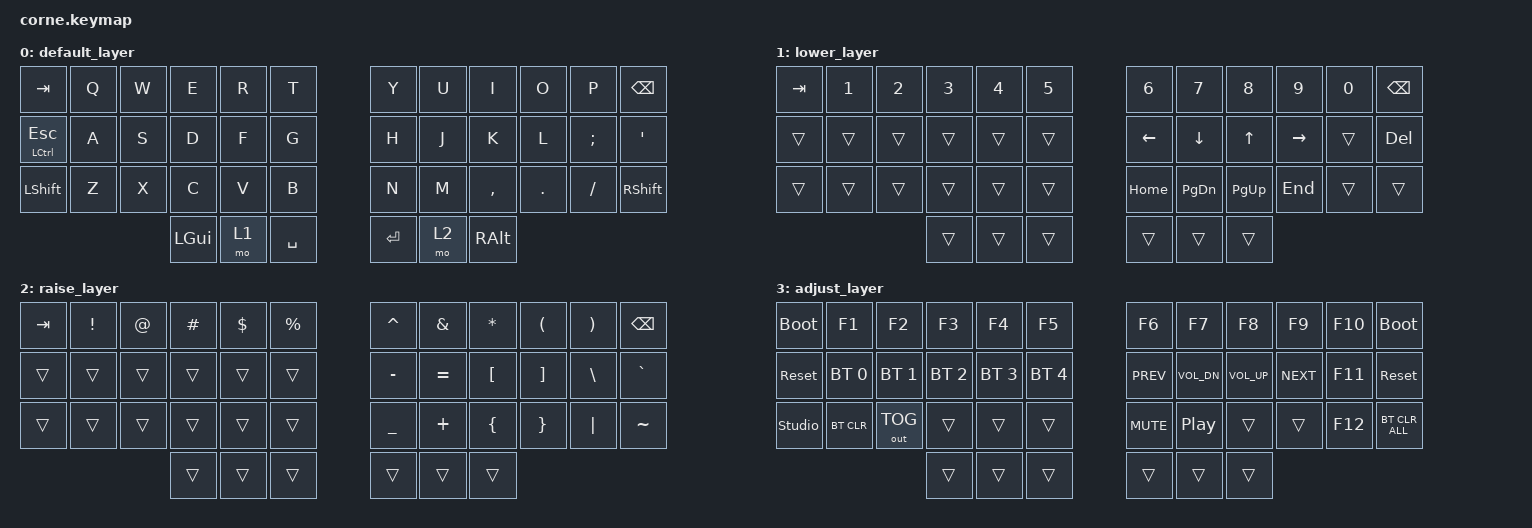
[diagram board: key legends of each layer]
/*
 * Copyright (c) 2020 The ZMK Contributors
 *
 * SPDX-License-Identifier: MIT
 */

#include <behaviors.dtsi>
#include <dt-bindings/zmk/keys.h>
#include <dt-bindings/zmk/bt.h>
#include <dt-bindings/zmk/outputs.h>

// Key positions, for the combo below:
//   0  1  2  3  4  5      6  7  8  9 10 11
//  12 13 14 15 16 17     18 19 20 21 22 23
//  24 25 26 27 28 29     30 31 32 33 34 35
//           36 37 38     39 40 41

/ {
        combos {
                compatible = "zmk,combos";

                // Both Shifts together: Caps Word (capitals until a space or punctuation)
                caps_word_combo {
                        timeout-ms = <50>;
                        key-positions = <24 35>;
                        bindings = <&caps_word>;
                };
        };

        conditional_layers {
                compatible = "zmk,conditional-layers";

                // Lower and Raise held together: Adjust
                adjust {
                        if-layers = <1 2>;
                        then-layer = <3>;
                };
        };

        keymap {
                compatible = "zmk,keymap";

                default_layer {
// -----------------------------------------------------------------------------------------
// |  TAB    |  Q  |  W  |  E  |  R  |  T  |   |  Y  |  U   |  I  |  O  |  P  | BSPC |
// | CTL/ESC |  A  |  S  |  D  |  F  |  G  |   |  H  |  J   |  K  |  L  |  ;  |  '   |
// |  SHFT   |  Z  |  X  |  C  |  V  |  B  |   |  N  |  M   |  ,  |  .  |  /  | SHFT |
//                       | GUI | LWR | SPC |   | ENT | RSE  | ALT |
// The key left of A is Ctrl when held and Esc when tapped.
                        bindings = <
   &kp TAB       &kp Q &kp W &kp E &kp R &kp T   &kp Y &kp U  &kp I     &kp O   &kp P    &kp BSPC
   &mt LCTRL ESC &kp A &kp S &kp D &kp F &kp G   &kp H &kp J  &kp K     &kp L   &kp SEMI &kp SQT
   &kp LSHFT     &kp Z &kp X &kp C &kp V &kp B   &kp N &kp M  &kp COMMA &kp DOT &kp FSLH &kp RSHFT
                      &kp LGUI &mo 1 &kp SPACE   &kp RET &mo 2 &kp RALT
                        >;
                };

                lower_layer {
// -----------------------------------------------------------------------------------------
// |  TAB |  1  |  2  |  3  |  4  |  5  |   |  6   |  7   |  8   |  9   |  0  | BSPC |
// |      |     |     |     |     |     |   | LFT  | DWN  |  UP  | RGT  |     | DEL  |
// |      |     |     |     |     |     |   | HOME | PGDN | PGUP | END  |     |      |
//                    |     |     |     |   |      |      |      |
                        bindings = <
   &kp TAB &kp N1 &kp N2 &kp N3 &kp N4 &kp N5   &kp N6   &kp N7    &kp N8    &kp N9    &kp N0 &kp BSPC
   &trans  &trans &trans &trans &trans &trans   &kp LEFT &kp DOWN  &kp UP    &kp RIGHT &trans &kp DEL
   &trans  &trans &trans &trans &trans &trans   &kp HOME &kp PG_DN &kp PG_UP &kp END   &trans &trans
                         &trans &trans &trans   &trans   &trans    &trans
                        >;
                };

                raise_layer {
// -----------------------------------------------------------------------------------------
// |  TAB |  !  |  @  |  #  |  $  |  %  |   |  ^  |  &  |  *  |  (  |  )  | BSPC |
// |      |     |     |     |     |     |   |  -  |  =  |  [  |  ]  |  \  |  `   |
// |      |     |     |     |     |     |   |  _  |  +  |  {  |  }  | "|" |  ~   |
//                    |     |     |     |   |     |     |     |
                        bindings = <
   &kp TAB &kp EXCL &kp AT &kp HASH &kp DLLR &kp PRCNT   &kp CARET &kp AMPS  &kp ASTRK &kp LPAR &kp RPAR &kp BSPC
   &trans  &trans   &trans &trans   &trans   &trans      &kp MINUS &kp EQUAL &kp LBKT  &kp RBKT &kp BSLH &kp GRAVE
   &trans  &trans   &trans &trans   &trans   &trans      &kp UNDER &kp PLUS  &kp LBRC  &kp RBRC &kp PIPE &kp TILDE
                           &trans   &trans   &trans      &trans    &trans    &trans
                        >;
                };

                adjust_layer {
// Lower and Raise together. The bootloader and reset keys act on the half they are on.
// -----------------------------------------------------------------------------------------
// | BOOT  | F1  | F2  | F3  | F4  | F5  |   | F6   | F7   | F8   | F9   | F10 | BOOT  |
// | RESET | BT1 | BT2 | BT3 | BT4 | BT5 |   | PREV | VOL- | VOL+ | NEXT | F11 | RESET |
// | STUDIO| BTCLR| USB/BT|    |     |     |   | MUTE | PLAY |      |      | F12 | BTCLR ALL |
//                     |     |     |     |   |      |      |      |
                        bindings = <
   &bootloader    &kp F1       &kp F2       &kp F3       &kp F4       &kp F5         &kp F6     &kp F7       &kp F8       &kp F9     &kp F10 &bootloader
   &sys_reset     &bt BT_SEL 0 &bt BT_SEL 1 &bt BT_SEL 2 &bt BT_SEL 3 &bt BT_SEL 4   &kp C_PREV &kp C_VOL_DN &kp C_VOL_UP &kp C_NEXT &kp F11 &sys_reset
   &studio_unlock &bt BT_CLR   &out OUT_TOG &trans       &trans       &trans         &kp C_MUTE &kp C_PP     &trans       &trans     &kp F12 &bt BT_CLR_ALL
                                            &trans       &trans       &trans         &trans     &trans       &trans
                        >;
                };
        };
};
